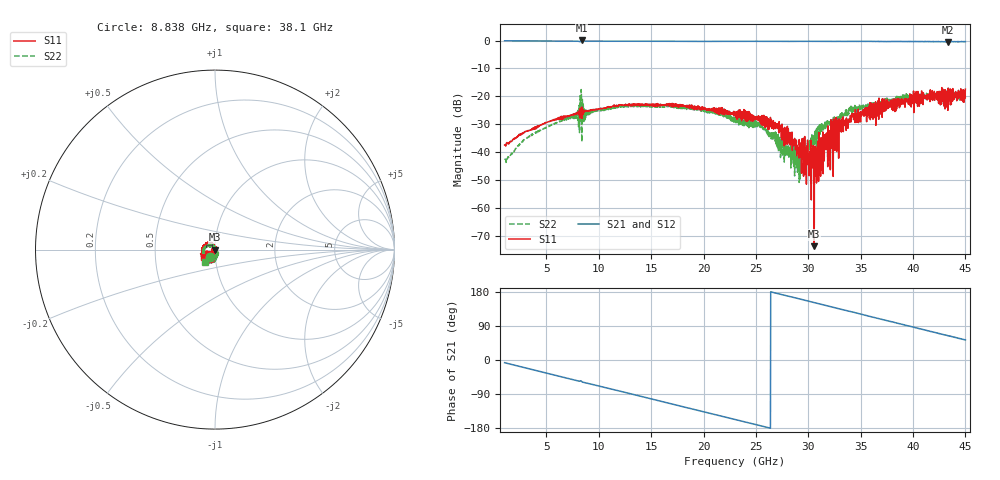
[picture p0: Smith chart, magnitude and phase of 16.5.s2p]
!Keysight Technologies,N5247B,MY61255062,A.19.80.06
!Date: Tuesday, May 26, 2026 11:50:15
!Correction: S11(C  2-Port  )
!S21(C  2-Port  )
!S12(C  2-Port  )
!S22(C  2-Port  )
!S2P File: Measurements: S11, S21, S12, S22:
# Hz S  dB  R 50
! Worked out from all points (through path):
!   1601 points, 1 GHz to 45 GHz, reference 50 ohm
!   highest |S21| = 0.03 dB at 8.342 GHz (marker M1); lowest = -0.5 dB at 43.35 GHz (marker M2)
!   group delay of S21, straight-line fit = 18.9 ps
!   lowest |S11| = -73.8 dB at 30.56 GHz (marker M3), VSWR 1.00, Z = 50 + j0.0046 ohm
!   |S11| at or under -10 dB: start of sweep to end of sweep
!   |S22| runs from -50.9 to -17.6 dB; largest |S21 - S12| = 0.017
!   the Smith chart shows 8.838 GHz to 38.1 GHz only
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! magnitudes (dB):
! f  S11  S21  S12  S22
! 1 GHz  -37.5  -0.1  -0.1  -42.8
! 3.007 GHz  -32.6  -0.1  -0.1  -35.3
! 7.93 GHz  -26.2  -0.2  -0.2  -25.6
! 8.342 GHz  -24.8  0.0  0.0  -21.0
! 8.59 GHz  -25.4  -0.2  -0.2  -24.2
! 15.69 GHz  -22.9  -0.2  -0.2  -23.9
! 19.45 GHz  -24.6  -0.3  -0.3  -24.8
! 23 GHz  -26.5  -0.3  -0.3  -29.5
! 25.2 GHz  -28.6  -0.3  -0.3  -30.8
! 26.93 GHz  -30.9  -0.3  -0.3  -33.1
! 29.02 GHz  -40.5  -0.3  -0.3  -41.6
! 30.32 GHz  -39.0  -0.3  -0.3  -37.7
! 30.34 GHz  -44.7  -0.3  -0.3  -33.9
! 30.56 GHz  -73.8  -0.3  -0.3  -37.7
! 30.78 GHz  -51.1  -0.3  -0.3  -31.7
! 30.86 GHz  -38.0  -0.3  -0.3  -31.9
! 31.58 GHz  -35.6  -0.3  -0.3  -29.3
! 32.16 GHz  -28.4  -0.3  -0.3  -29.2
! 33.15 GHz  -32.8  -0.3  -0.3  -27.9
! 37.69 GHz  -22.2  -0.3  -0.3  -22.8
! 43.35 GHz  -17.0  -0.5  -0.4  -19.7
! 45 GHz  -17.4  -0.4  -0.4  -20.0
